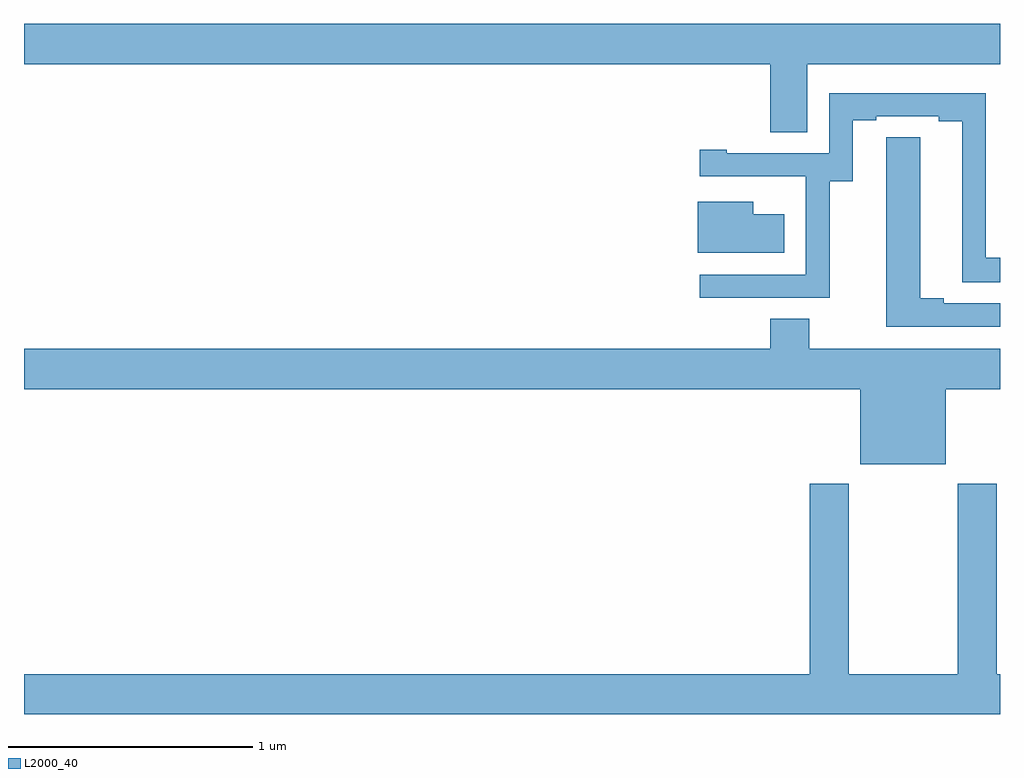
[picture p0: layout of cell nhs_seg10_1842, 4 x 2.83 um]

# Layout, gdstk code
import gdstk
lib = gdstk.Library(unit=1e-6, precision=1e-09)
def P(c, l, *ps):  # polygons
    for p in ps: c.add(gdstk.Polygon(p, *l))
L2000_40 = (2000, 40)

nhs_seg10_1842 = lib.new_cell('nhs_seg10_1842')
P(nhs_seg10_1842, L2000_40, [(210.211,1316.3),(211,1316.3),(211,1316.464),(207,1316.464),(207,1316.3),(210.059,1316.3),(210.059,1316.02),(210.211,1316.02)],
  [(210.303,1315.819),(210.397,1315.819),(210.397,1316.07),(210.493,1316.07),(210.493,1316.085),(210.749,1316.085),(210.749,1316.065),(210.845,1316.065),(210.845,1315.405),(211,1315.405),(211,1315.506),(210.942,1315.506),(210.942,1316.181),(210.3,1316.181),(210.3,1315.935),(209.881,1315.935),(209.881,1315.948),(209.769,1315.948),(209.769,1315.839),(210.203,1315.839),(210.203,1315.838),(210.204,1315.838),(210.204,1315.437),(209.769,1315.437),(209.769,1315.341),(210.303,1315.341)],
  [(211,1315.32),(210.769,1315.32),(210.769,1315.34),(210.673,1315.34),(210.673,1316),(210.534,1316),(210.534,1315.892),(210.533,1315.892),(210.533,1315.224),(211,1315.224)],
  [(210.115,1315.684),(209.989,1315.684),(209.989,1315.735),(209.762,1315.735),(209.762,1315.526),(210.115,1315.526)],
  [(210.778,1314.968),(211,1314.968),(211,1315.132),(210.219,1315.132),(210.219,1315.256),(210.059,1315.256),(210.059,1315.132),(207,1315.132),(207,1314.968),(210.428,1314.968),(210.428,1314.659),(210.778,1314.659)],
  [(211,1313.8),(210.986,1313.8),(210.986,1314.58),(210.826,1314.58),(210.826,1313.8),(210.381,1313.8),(210.381,1314.58),(210.221,1314.58),(210.221,1313.8),(207,1313.8),(207,1313.636),(211,1313.636)])

lib.write_gds('nhs_seg10_1842.gds')
